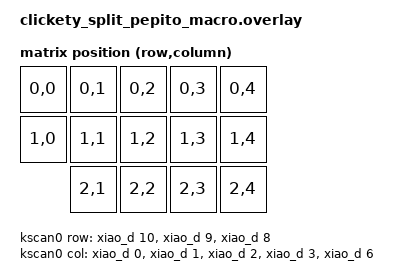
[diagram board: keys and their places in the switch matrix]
/*
 * Copyright (c) 2023 The ZMK Contributors
 * SPDX-License-Identifier: MIT
 */

#include <dt-bindings/zmk/matrix_transform.h>

/ {
    chosen {
        zmk,kscan = &kscan0;
        zmk,matrix_transform = &default_transform;
        zephyr,display = &oled;
    };

    default_transform: keymap_transform_0 {
        compatible = "zmk,matrix-transform";
        columns = <5>;
        rows = <3>;

        //
        // | SW1  | SW2  | SW3  | SW4  | SW5  |
        // | SW6  | SW7  | SW8  | SW9  | SW10 |
        //        | SW11 | SW12 | SW13 | SW14 |
        
        map = <
            RC(0,0) RC(0,1) RC(0,2) RC(0,3) RC(0,4)
            RC(1,0) RC(1,1) RC(1,2) RC(1,3) RC(1,4)
                    RC(2,1) RC(2,2) RC(2,3) RC(2,4)
        >;
    };

    kscan0: kscan {
        compatible = "zmk,kscan-gpio-matrix";
        label = "KSCAN";

        diode-direction = "col2row";

        row-gpios
            = <&xiao_d 10 (GPIO_ACTIVE_HIGH | GPIO_PULL_DOWN)>
            , <&xiao_d  9 (GPIO_ACTIVE_HIGH | GPIO_PULL_DOWN)>
            , <&xiao_d  8 (GPIO_ACTIVE_HIGH | GPIO_PULL_DOWN)>
            ;

        col-gpios
            = <&xiao_d 0 (GPIO_ACTIVE_HIGH)>
            , <&xiao_d 1 (GPIO_ACTIVE_HIGH)>
            , <&xiao_d 2 (GPIO_ACTIVE_HIGH)>
            , <&xiao_d 3 (GPIO_ACTIVE_HIGH)>
            , <&xiao_d 6 (GPIO_ACTIVE_HIGH)>
            ;
    };

};

&xiao_i2c {
    status = "okay";

    oled: ssd1306@3c {
        compatible = "solomon,ssd1306fb";
        reg = <0x3c>;
        label = "DISPLAY";
        width = <128>;
        height = <32>;
        segment-offset = <0>;
        page-offset = <0>;
        display-offset = <0>;
        multiplex-ratio = <31>;
        segment-remap;
        com-invdir;
        com-sequential;
        prechargep = <0x22>;
    };
};
